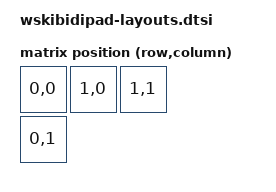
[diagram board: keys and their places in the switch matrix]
#include <dt-bindings/zmk/matrix_transform.h>
#include <physical_layouts.dtsi>

/ {
    default_transform: keymap_transform0 {
        compatible = "zmk,matrix-transform";
        columns = <2>; // Length of the "col-gpios" array
        rows = <2>; // Length of the "row-gpios" array
        map = <
        // key 1 | key 2 | rotator
           RC(0,0) RC(1,0) RC(1,1)
        // key 3 | he 1 | he 2 |he 3
           RC(0,1)
        >;
    };
};


/ {
    physical_layout0: physical_layout_0 {
        compatible = "zmk,physical-layout";
        display-name = "Default Layout";
    };
};
&physical_layout0 {
    kscan = <&kscan0>; // Label of the kscan node this layout uses
    transform = <&default_transform>; // Label of the matrix transform this layout uses
};
